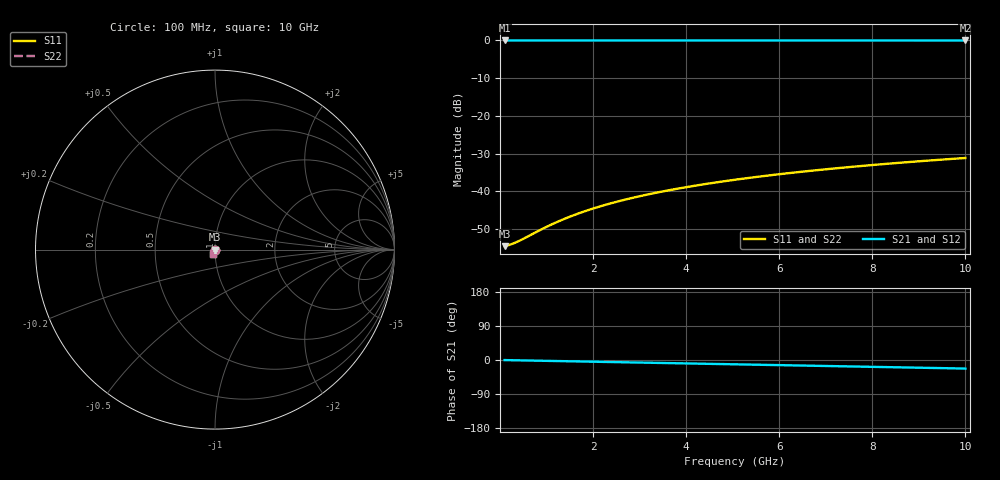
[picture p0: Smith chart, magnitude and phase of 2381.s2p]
# Hz S RI R 50.00
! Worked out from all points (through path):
!   100 points, 100 MHz to 10 GHz, reference 50 ohm
!   highest |S21| = -0.02 dB at 100 MHz (marker M1); lowest = 0.0 dB at 10 GHz (marker M2)
!   group delay of S21, straight-line fit = 6.28 ps
!   lowest |S11| = -54.5 dB at 100 MHz (marker M3), VSWR 1.00, Z = 50.2 - j0.0288 ohm
!   |S11| at or under -10 dB: start of sweep to end of sweep
!   |S22| runs from -54.5 to -31.2 dB; largest |S21 - S12| = 0
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1e8  0.00186 -0.000287  0.9981 -0.00392  0.9981 -0.00392  0.00186 -0.000287
2e8  0.00186 -0.000574  0.9981 -0.00785  0.9981 -0.00785  0.00186 -0.000574
3e8  0.00187 -0.000862  0.998 -0.0118  0.998 -0.0118  0.00187 -0.000862
4e8  0.00186 -0.00115  0.998 -0.0157  0.998 -0.0157  0.00186 -0.00115
9e8  0.00181 -0.00259  0.9974 -0.0353  0.9974 -0.0353  0.00181 -0.00259
1.2e9  0.00174 -0.00345  0.9969 -0.0471  0.9969 -0.0471  0.00174 -0.00345
1.5e9  0.00166 -0.00431  0.9963 -0.0588  0.9963 -0.0588  0.00166 -0.00431
1.8e9  0.00155 -0.00516  0.9955 -0.0706  0.9955 -0.0706  0.00155 -0.00516
2.1e9  0.00142 -0.00602  0.9946 -0.0823  0.9946 -0.0823  0.00142 -0.00602
2.5e9  0.00122 -0.00715  0.9931 -0.098  0.9931 -0.098  0.00122 -0.00715
2.9e9  0.00098 -0.00829  0.9914 -0.1136  0.9914 -0.1136  0.00098 -0.00829
3.4e9  0.000631 -0.00969  0.989 -0.1331  0.989 -0.1331  0.000631 -0.00969
3.8e9  0.000312 -0.0108  0.9867 -0.1486  0.9867 -0.1486  0.000312 -0.0108
4.2e9  -4.17e-05 -0.0119  0.9842 -0.1642  0.9842 -0.1642  -4.17e-05 -0.0119
4.6e9  -0.00043 -0.013  0.9815 -0.1797  0.9815 -0.1797  -0.00043 -0.013
5.1e9  -0.000965 -0.0144  0.9777 -0.199  0.9777 -0.199  -0.000965 -0.0144
5.9e9  -0.00193 -0.0165  0.9709 -0.2297  0.9709 -0.2297  -0.00193 -0.0165
6.7e9  -0.00303 -0.0185  0.9631 -0.2602  0.9631 -0.2602  -0.00303 -0.0185
7.5e9  -0.00425 -0.0205  0.9543 -0.2905  0.9543 -0.2905  -0.00425 -0.0205
8.4e9  -0.00578 -0.0227  0.9433 -0.3242  0.9433 -0.3242  -0.00578 -0.0227
9.2e9  -0.00726 -0.0245  0.9325 -0.3539  0.9325 -0.3539  -0.00726 -0.0245
1e10  -0.00886 -0.0262  0.9207 -0.3832  0.9207 -0.3832  -0.00886 -0.0262
